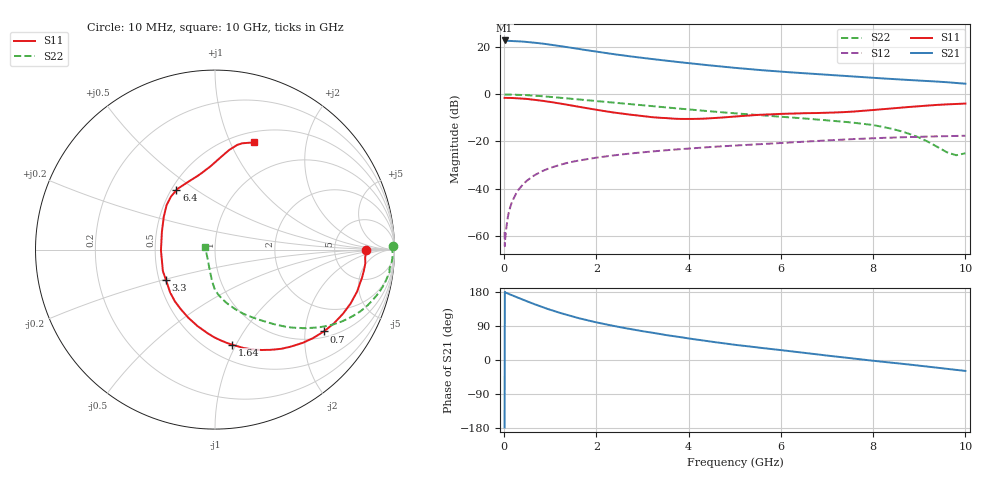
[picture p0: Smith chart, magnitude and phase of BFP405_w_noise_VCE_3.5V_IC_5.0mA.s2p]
! Infineon Technologies  Discrete & RF Semiconductors
! BFP405
! VCE =  3.5 V,  IC =  5.0 mA
! Common Emitter S-Parameters:  Jan 2016
# GHz  S  MA  R  50
!  f  S11  S21  S12  S22
! GHz  MAG  ANG  MAG  ANG  MAG  ANG  MAG  ANG
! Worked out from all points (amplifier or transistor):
!   233 points, 10 MHz to 10 GHz, reference 50 ohm
!   highest |S21| = 22.9 dB at 10 MHz (marker M1)
!   |S21| within 3 dB of that: start of sweep to 1.422 GHz
!   unconditionally stable (mu >= 1): 13.35 MHz to 17.35 MHz; 3.441 GHz to end of sweep
!   at 200 MHz: K = 0.12, MSG = 33.5 dB, |S12| = -44.4 dB
!   at 1.74 GHz: K = 0.55, MSG = 23.3 dB, |S12| = -27.7 dB
!   at 10 GHz: K = 1.45, MAG = 7.1 dB, |S12| = -17.6 dB
!   lowest NFmin = 1.22 dB at 900 MHz
!   S11 on the Smith chart (normalised r, x): 10 MHz: 12, -0; 700 MHz: 1.17, -2.52; 1.64 GHz: 0.65, -0.97; 3.3 GHz: 0.54, -0.20; 6.4 GHz: 0.53, +0.42; 10 GHz: 0.62, +1.24
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0.01  0.8409 -0.2  13.89 -178.1  0.0012 -48.5  0.9897 1.2
0.015  0.8419 -0.6  13.82 179.9  0.0006 -9.6  0.9879 0.7
0.02  0.8429 -0.9  13.76 177.9  0.0008 60.9  0.9861 0.1
0.1  0.8408 -5.3  13.62 174.1  0.0031 82.4  0.9903 -2.3
0.26  0.8277 -14.1  13.46 166.4  0.0079 81.3  0.978 -6.4
0.46  0.8033 -24.6  13.02 156.6  0.0137 77.4  0.9637 -11.1
0.7  0.759 -36.9  12.34 145.4  0.0203 72.0  0.9319 -16.5
0.9  0.7137 -46.7  11.7 136.5  0.0252 68.0  0.9002 -20.7
1.1  0.6655 -56.1  10.99 128.4  0.0297 64.3  0.8662 -24.4
1.4  0.5935 -69.5  9.916 117.5  0.0356 59.4  0.8138 -29.4
1.64  0.5394 -79.6  9.116 109.7  0.0397 56.1  0.7735 -32.8
1.68  0.5316 -81.2  8.988 108.5  0.0404 55.6  0.767 -33.3
2  0.4701 -94.6  8.044 99.3  0.0453 52.1  0.7178 -37.2
2.4  0.4083 -111.2  7.065 89.3  0.0509 48.3  0.6619 -41.4
3.3  0.3212 -148.6  5.47 70.3  0.0625 41.3  0.5519 -49.8
3.4  0.3165 -153.1  5.33 68.2  0.0637 40.6  0.5405 -50.7
4  0.3012 -179.3  4.584 56.7  0.0709 36.4  0.4775 -56.3
5.1  0.3437 145.2  3.575 38.8  0.083 28.9  0.3888 -66.3
6.4  0.3943 123.1  2.847 20.4  0.0978 21.0  0.3132 -76.4
6.8  0.4013 115.5  2.674 14.7  0.1027 18.3  0.2914 -79.6
8.4  0.5029 87.9  2.115 -7.1  0.1207 5.6  0.1861 -94.0
10  0.6365 69.8  1.679 -28.8  0.1322 -6.3  0.0561 167.8
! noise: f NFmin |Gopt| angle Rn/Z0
0.9  1.22  0.36  11  0.33
1.8  1.49  0.28  18  0.31
2.4  1.64  0.24  26  0.31
3  1.66  0.21  44  0.29
4  1.83  0.1  66  0.25
5  2.19  0.05  139  0.23
